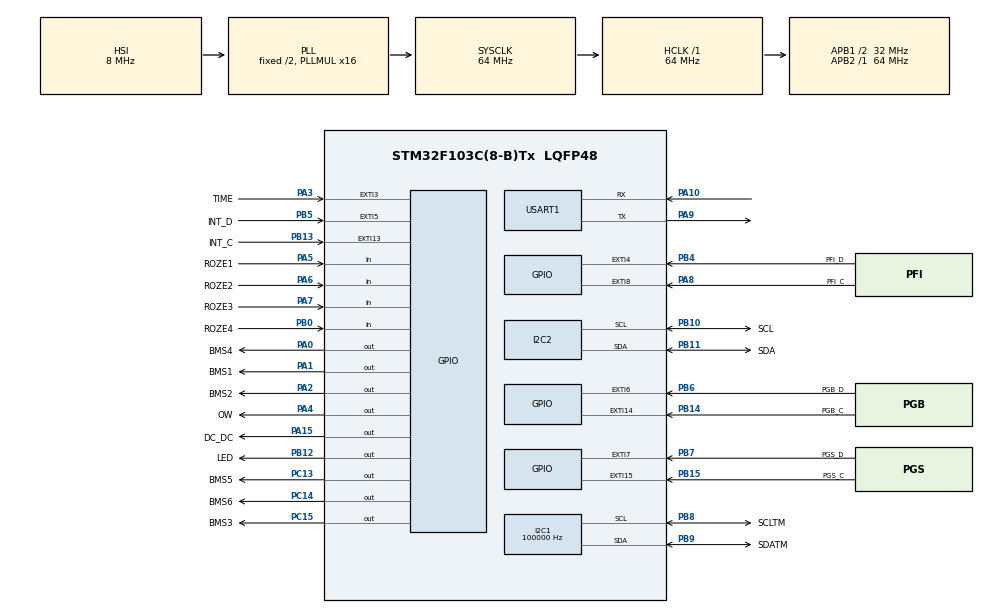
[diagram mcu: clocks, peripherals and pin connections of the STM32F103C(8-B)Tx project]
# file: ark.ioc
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ADC1.Channel-0\#ChannelRegularConversion=ADC_CHANNEL_TEMPSENSOR
ADC1.Channel-1\#ChannelRegularConversion=ADC_CHANNEL_VREFINT
ADC1.ContinuousConvMode=ENABLE
ADC1.DiscontinuousConvMode=DISABLE
ADC1.NbrOfConversion=2
ADC1.NbrOfConversionFlag=1
ADC1.Rank-0\#ChannelRegularConversion=1
ADC1.Rank-1\#ChannelRegularConversion=2
ADC1.SamplingTime-0\#ChannelRegularConversion=ADC_SAMPLETIME_239CYCLES_5
ADC1.SamplingTime-1\#ChannelRegularConversion=ADC_SAMPLETIME_239CYCLES_5
ADC1.master=1
Dma.ADC1.4.Direction=DMA_PERIPH_TO_MEMORY
Dma.ADC1.4.Instance=DMA1_Channel1
Dma.ADC1.4.MemDataAlignment=DMA_MDATAALIGN_HALFWORD
Dma.ADC1.4.MemInc=DMA_MINC_ENABLE
Dma.ADC1.4.Mode=DMA_CIRCULAR
Dma.ADC1.4.PeriphDataAlignment=DMA_PDATAALIGN_HALFWORD
Dma.ADC1.4.PeriphInc=DMA_PINC_DISABLE
Dma.ADC1.4.Priority=DMA_PRIORITY_LOW
Dma.I2C1_RX.0.Direction=DMA_PERIPH_TO_MEMORY
Dma.I2C1_RX.0.Instance=DMA1_Channel7
Dma.I2C1_RX.0.MemDataAlignment=DMA_MDATAALIGN_BYTE
Dma.I2C1_RX.0.MemInc=DMA_MINC_ENABLE
Dma.I2C1_RX.0.Mode=DMA_NORMAL
Dma.I2C1_RX.0.PeriphDataAlignment=DMA_PDATAALIGN_BYTE
Dma.I2C1_RX.0.PeriphInc=DMA_PINC_DISABLE
Dma.I2C1_RX.0.Priority=DMA_PRIORITY_HIGH
Dma.I2C1_TX.1.Direction=DMA_MEMORY_TO_PERIPH
Dma.I2C1_TX.1.Instance=DMA1_Channel6
Dma.I2C1_TX.1.MemDataAlignment=DMA_MDATAALIGN_BYTE
Dma.I2C1_TX.1.MemInc=DMA_MINC_ENABLE
Dma.I2C1_TX.1.Mode=DMA_NORMAL
Dma.I2C1_TX.1.PeriphDataAlignment=DMA_PDATAALIGN_BYTE
Dma.I2C1_TX.1.PeriphInc=DMA_PINC_DISABLE
Dma.I2C1_TX.1.Priority=DMA_PRIORITY_HIGH
Dma.Request0=I2C1_RX
Dma.Request1=I2C1_TX
Dma.Request2=USART1_TX
Dma.Request3=USART1_RX
Dma.Request4=ADC1
Dma.USART1_RX.3.Direction=DMA_PERIPH_TO_MEMORY
Dma.USART1_RX.3.Instance=DMA1_Channel5
Dma.USART1_RX.3.MemDataAlignment=DMA_MDATAALIGN_BYTE
Dma.USART1_RX.3.MemInc=DMA_MINC_ENABLE
Dma.USART1_RX.3.Mode=DMA_NORMAL
Dma.USART1_RX.3.PeriphDataAlignment=DMA_PDATAALIGN_BYTE
Dma.USART1_RX.3.PeriphInc=DMA_PINC_DISABLE
Dma.USART1_RX.3.Priority=DMA_PRIORITY_LOW
Dma.USART1_TX.2.Direction=DMA_MEMORY_TO_PERIPH
Dma.USART1_TX.2.Instance=DMA1_Channel4
Dma.USART1_TX.2.MemDataAlignment=DMA_MDATAALIGN_BYTE
Dma.USART1_TX.2.MemInc=DMA_MINC_ENABLE
Dma.USART1_TX.2.Mode=DMA_NORMAL
Dma.USART1_TX.2.PeriphDataAlignment=DMA_PDATAALIGN_BYTE
Dma.USART1_TX.2.PeriphInc=DMA_PINC_DISABLE
Dma.USART1_TX.2.Priority=DMA_PRIORITY_LOW
I2C1.ClockSpeed=100000
I2C1.DualAddressMode=I2C_DUALADDRESS_DISABLE
I2C1.NoStretchMode=I2C_NOSTRETCH_DISABLE
I2C1.OwnAddress=0x68
IWDG.Prescaler=IWDG_PRESCALER_128
IWDG.Reload=0xfff
Mcu.Family=STM32F1
Mcu.Name=STM32F103C(8-B)Tx
Mcu.Package=LQFP48
NVIC.DMA1_Channel4_IRQn=true\:0\:0\:false\:false\:true\:false\:true\:true
NVIC.DMA1_Channel5_IRQn=true\:0\:0\:false\:false\:true\:false\:true\:true
NVIC.DMA1_Channel6_IRQn=true\:0\:0\:false\:false\:true\:false\:true\:true
NVIC.DMA1_Channel7_IRQn=true\:0\:0\:false\:false\:true\:false\:true\:true
NVIC.EXTI15_10_IRQn=true\:0\:0\:false\:false\:true\:true\:true\:true
NVIC.EXTI3_IRQn=true\:0\:0\:false\:false\:true\:true\:true\:true
NVIC.EXTI4_IRQn=true\:0\:0\:false\:false\:true\:true\:true\:true
NVIC.EXTI9_5_IRQn=true\:0\:0\:false\:false\:true\:true\:true\:true
NVIC.I2C1_ER_IRQn=true\:0\:0\:false\:false\:true\:true\:true\:true
NVIC.I2C1_EV_IRQn=true\:0\:0\:false\:false\:true\:true\:true\:true
NVIC.PriorityGroup=NVIC_PRIORITYGROUP_4
NVIC.USART1_IRQn=true\:0\:0\:false\:false\:true\:true\:true\:true
PA0-WKUP.GPIO_Label=BMS4
PA0-WKUP.GPIO_ModeDefaultOutputPP=GPIO_MODE_OUTPUT_OD
PA0-WKUP.GPIO_PuPd=GPIO_NOPULL
PA0-WKUP.GPIO_Speed=GPIO_SPEED_FREQ_LOW
PA0-WKUP.PinState=GPIO_PIN_SET
PA0-WKUP.Signal=GPIO_Output
PA1.GPIO_Label=BMS1
PA1.GPIO_ModeDefaultOutputPP=GPIO_MODE_OUTPUT_OD
PA1.GPIO_PuPd=GPIO_NOPULL
PA1.GPIO_Speed=GPIO_SPEED_FREQ_LOW
PA1.PinState=GPIO_PIN_SET
PA1.Signal=GPIO_Output
PA10.Mode=Asynchronous
PA10.Signal=USART1_RX
PA13.Mode=Serial_Wire
PA13.Signal=SYS_JTMS-SWDIO
PA14.Mode=Serial_Wire
PA14.Signal=SYS_JTCK-SWCLK
PA15.GPIO_Label=DC_DC
PA15.Signal=GPIO_Output
PA2.GPIO_Label=BMS2
PA2.GPIO_ModeDefaultOutputPP=GPIO_MODE_OUTPUT_OD
PA2.GPIO_PuPd=GPIO_NOPULL
PA2.GPIO_Speed=GPIO_SPEED_FREQ_LOW
PA2.PinState=GPIO_PIN_SET
PA2.Signal=GPIO_Output
PA3.GPIO_Label=TIME
PA3.Signal=GPXTI3
PA4.GPIO_Label=OW
PA4.GPIO_ModeDefaultOutputPP=GPIO_MODE_OUTPUT_OD
PA4.GPIO_PuPd=GPIO_NOPULL
PA4.GPIO_Speed=GPIO_SPEED_FREQ_HIGH
PA4.PinState=GPIO_PIN_SET
PA4.Signal=GPIO_Output
PA5.GPIO_Label=ROZE1
PA5.Signal=GPIO_Input
PA6.GPIO_Label=ROZE2
PA6.Signal=GPIO_Input
PA7.GPIO_Label=ROZE3
PA7.Signal=GPIO_Input
PA8.GPIO_Label=PFI_C
PA8.Signal=GPXTI8
PA9.Mode=Asynchronous
PA9.Signal=USART1_TX
PB0.GPIO_Label=ROZE4
PB0.Signal=GPIO_Input
PB10.GPIO_Label=SCL
PB10.GPIO_Pu=GPIO_PULLUP
PB10.Mode=I2C
PB10.Signal=I2C2_SCL
PB11.GPIO_Label=SDA
PB11.GPIO_Pu=GPIO_PULLUP
PB11.Mode=I2C
PB11.Signal=I2C2_SDA
PB12.GPIO_Label=LED
PB12.GPIO_ModeDefaultOutputPP=GPIO_MODE_OUTPUT_OD
PB12.GPIO_PuPd=GPIO_NOPULL
PB12.GPIO_Speed=GPIO_SPEED_FREQ_LOW
PB12.PinState=GPIO_PIN_SET
PB12.Signal=GPIO_Output
PB13.GPIO_Label=INT_C
PB13.Signal=GPXTI13
PB14.GPIO_Label=PGB_C
PB14.Signal=GPXTI14
PB15.GPIO_Label=PGS_C
PB15.Signal=GPXTI15
PB4.GPIO_Label=PFI_D
PB4.Signal=GPXTI4
PB5.GPIO_Label=INT_D
PB5.Signal=GPXTI5
PB6.GPIO_Label=PGB_D
PB6.Signal=GPXTI6
PB7.GPIO_Label=PGS_D
PB7.Signal=GPXTI7
PB8.GPIO_Label=SCLTM
PB8.GPIO_Pu=GPIO_PULLUP
PB8.Mode=I2C
PB8.Signal=I2C1_SCL
PB9.GPIO_Label=SDATM
PB9.GPIO_Pu=GPIO_PULLUP
PB9.Mode=I2C
PB9.Signal=I2C1_SDA
PC13-TAMPER-RTC.GPIO_Label=BMS5
PC13-TAMPER-RTC.GPIO_ModeDefaultOutputPP=GPIO_MODE_OUTPUT_OD
PC13-TAMPER-RTC.GPIO_PuPd=GPIO_NOPULL
PC13-TAMPER-RTC.GPIO_Speed=GPIO_SPEED_FREQ_LOW
PC13-TAMPER-RTC.PinState=GPIO_PIN_SET
PC13-TAMPER-RTC.Signal=GPIO_Output
PC14-OSC32_IN.GPIO_Label=BMS6
PC14-OSC32_IN.GPIO_ModeDefaultOutputPP=GPIO_MODE_OUTPUT_OD
PC14-OSC32_IN.GPIO_PuPd=GPIO_NOPULL
PC14-OSC32_IN.GPIO_Speed=GPIO_SPEED_FREQ_LOW
PC14-OSC32_IN.PinState=GPIO_PIN_SET
PC14-OSC32_IN.Signal=GPIO_Output
PC15-OSC32_OUT.GPIO_Label=BMS3
PC15-OSC32_OUT.GPIO_ModeDefaultOutputPP=GPIO_MODE_OUTPUT_OD
PC15-OSC32_OUT.GPIO_PuPd=GPIO_NOPULL
PC15-OSC32_OUT.GPIO_Speed=GPIO_SPEED_FREQ_LOW
PC15-OSC32_OUT.PinState=GPIO_PIN_SET
PC15-OSC32_OUT.Signal=GPIO_Output
ProjectManager.HeapSize=0x200
ProjectManager.StackSize=0x400
ProjectManager.TargetToolchain=STM32CubeIDE
RCC.ADCPresc=RCC_ADCPCLK2_DIV6
RCC.AHBFreq_Value=64000000
RCC.APB1CLKDivider=RCC_HCLK_DIV2
RCC.APB1Freq_Value=32000000
RCC.APB1TimFreq_Value=64000000
RCC.APB2Freq_Value=64000000
RCC.APB2TimFreq_Value=64000000
RCC.HCLKFreq_Value=64000000
RCC.PLLMUL=RCC_PLL_MUL16
RCC.SYSCLKFreq_VALUE=64000000
RCC.SYSCLKSource=RCC_SYSCLKSOURCE_PLLCLK
RCC.USBFreq_Value=64000000
RTC.AutoPrediv=0
USART1.VirtualMode=VM_ASYNC
VP_ADC1_TempSens_Input.Mode=IN-TempSens
VP_ADC1_Vref_Input.Mode=IN-Vrefint
VP_IWDG_VS_IWDG.Mode=IWDG_Activate
VP_RTC_VS_RTC_Activate.Mode=RTC_Enabled
board=custom

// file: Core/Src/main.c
/* USER CODE BEGIN Header */
/**
  ******************************************************************************
  * @file           : main.c
  * @brief          : Main program body
  ******************************************************************************
  * @attention
  *
  * <h2><center>&copy; Copyright (c) 2020 STMicroelectronics.
  * All rights reserved.</center></h2>
  *
  * This software component is licensed by ST under BSD 3-Clause license,
  * the "License"; You may not use this file except in compliance with the
  * License. You may obtain a copy of the License at:
  *                        opensource.org/licenses/BSD-3-Clause
  *
  ******************************************************************************
  */
/* USER CODE END Header */
#include "main.h"

/* USER CODE BEGIN Includes */
#include <assert.h>
#include "osc_config.h"
/* USER CODE END Includes */

 ADC_HandleTypeDef hadc1;
DMA_HandleTypeDef hdma_adc1;

I2C_HandleTypeDef hi2c2;

IWDG_HandleTypeDef hiwdg;

UART_HandleTypeDef huart1;
DMA_HandleTypeDef hdma_usart1_tx;
DMA_HandleTypeDef hdma_usart1_rx;

void SystemClock_Config(void);
static void MX_GPIO_Init(void);
static void MX_DMA_Init(void);
static void MX_I2C1_Init(void);
static void MX_USART1_UART_Init(void);
static void MX_RTC_Init(void);
static void MX_I2C2_Init(void);
static void MX_ADC1_Init(void);
static void MX_IWDG_Init(void);
/* USER CODE BEGIN PFP */
extern void initialise_monitor_handles(void);
/* USER CODE END PFP */

int main(void)
{
  /* USER CODE BEGIN 1 */
  //initialise_monitor_handles();

  /* USER CODE END 1 */

  /* MCU Configuration--------------------------------------------------------*/

  /* Reset of all peripherals, Initializes the Flash interface and the Systick. */
  HAL_Init();

  /* USER CODE BEGIN Init */

  int error = HSE_SystemClock_Config();
  if (1 == error)
  {
	  error = 0;
	  error = HSI_SystemClock_Config();
	  if (1 == error)
		  HAL_NVIC_SystemReset();
  }

#ifdef CUBE_CLOCK_CONFIG
  /* USER CODE END Init */

  /* Configure the system clock */
  SystemClock_Config();

  /* USER CODE BEGIN SysInit */
#endif
  /* USER CODE END SysInit */

  /* Initialize all configured peripherals */
  MX_GPIO_Init();
  MX_DMA_Init();
  MX_I2C1_Init();
  MX_USART1_UART_Init();
  MX_RTC_Init();
  MX_I2C2_Init();
  MX_ADC1_Init();
  MX_IWDG_Init();
  /* USER CODE BEGIN 2 */
  tmain();
  /* USER CODE END 2 */

  /* Infinite loop */
  while (1)
  {

  }
}

void SystemClock_Config(void)
{
  RCC_OscInitTypeDef RCC_OscInitStruct = {0};
  RCC_ClkInitTypeDef RCC_ClkInitStruct = {0};
  RCC_PeriphCLKInitTypeDef PeriphClkInit = {0};

  /** Initializes the RCC Oscillators according to the specified parameters
  * in the RCC_OscInitTypeDef structure.
  */
  RCC_OscInitStruct.OscillatorType = RCC_OSCILLATORTYPE_HSI|RCC_OSCILLATORTYPE_LSI;
  RCC_OscInitStruct.HSIState = RCC_HSI_ON;
  RCC_OscInitStruct.HSICalibrationValue = RCC_HSICALIBRATION_DEFAULT;
  RCC_OscInitStruct.LSIState = RCC_LSI_ON;
  RCC_OscInitStruct.PLL.PLLState = RCC_PLL_ON;
  RCC_OscInitStruct.PLL.PLLSource = RCC_PLLSOURCE_HSI_DIV2;
  RCC_OscInitStruct.PLL.PLLMUL = RCC_PLL_MUL16;
  if (HAL_RCC_OscConfig(&RCC_OscInitStruct) != HAL_OK)
  {
    Error_Handler();
  }

  /** Initializes the CPU, AHB and APB buses clocks
  */
  RCC_ClkInitStruct.ClockType = RCC_CLOCKTYPE_HCLK|RCC_CLOCKTYPE_SYSCLK
                              |RCC_CLOCKTYPE_PCLK1|RCC_CLOCKTYPE_PCLK2;
  RCC_ClkInitStruct.SYSCLKSource = RCC_SYSCLKSOURCE_PLLCLK;
  RCC_ClkInitStruct.AHBCLKDivider = RCC_SYSCLK_DIV1;
  RCC_ClkInitStruct.APB1CLKDivider = RCC_HCLK_DIV2;
  RCC_ClkInitStruct.APB2CLKDivider = RCC_HCLK_DIV1;

  if (HAL_RCC_ClockConfig(&RCC_ClkInitStruct, FLASH_LATENCY_2) != HAL_OK)
  {
    Error_Handler();
  }
  PeriphClkInit.PeriphClockSelection = RCC_PERIPHCLK_RTC|RCC_PERIPHCLK_ADC;
  PeriphClkInit.RTCClockSelection = RCC_RTCCLKSOURCE_LSI;
  PeriphClkInit.AdcClockSelection = RCC_ADCPCLK2_DIV6;
  if (HAL_RCCEx_PeriphCLKConfig(&PeriphClkInit) != HAL_OK)
  {
    Error_Handler();
  }
}

static void MX_ADC1_Init(void)
{

  ADC_ChannelConfTypeDef sConfig = {0};

  /** Common config
  */
  hadc1.Instance = ADC1;
  hadc1.Init.ScanConvMode = ADC_SCAN_ENABLE;
  hadc1.Init.ContinuousConvMode = ENABLE;
  hadc1.Init.DiscontinuousConvMode = DISABLE;
  hadc1.Init.ExternalTrigConv = ADC_SOFTWARE_START;
  hadc1.Init.DataAlign = ADC_DATAALIGN_RIGHT;
  hadc1.Init.NbrOfConversion = 2;
  if (HAL_ADC_Init(&hadc1) != HAL_OK)
  {
    Error_Handler();
  }

  /** Configure Regular Channel
  */
  sConfig.Channel = ADC_CHANNEL_TEMPSENSOR;
  sConfig.Rank = ADC_REGULAR_RANK_1;
  sConfig.SamplingTime = ADC_SAMPLETIME_239CYCLES_5;
  if (HAL_ADC_ConfigChannel(&hadc1, &sConfig) != HAL_OK)
  {
    Error_Handler();
  }

  /** Configure Regular Channel
  */
  sConfig.Channel = ADC_CHANNEL_VREFINT;
  sConfig.Rank = ADC_REGULAR_RANK_2;
  if (HAL_ADC_ConfigChannel(&hadc1, &sConfig) != HAL_OK)
  {
    Error_Handler();
  }

}

static void MX_I2C1_Init(void)
{

  LL_I2C_InitTypeDef I2C_InitStruct = {0};

  LL_GPIO_InitTypeDef GPIO_InitStruct = {0};

  LL_APB2_GRP1_EnableClock(LL_APB2_GRP1_PERIPH_GPIOB);
  /**I2C1 GPIO Configuration
  PB8   ------> I2C1_SCL
  PB9   ------> I2C1_SDA
  */
  GPIO_InitStruct.Pin = LL_GPIO_PIN_8|LL_GPIO_PIN_9;
  GPIO_InitStruct.Mode = LL_GPIO_MODE_ALTERNATE;
  GPIO_InitStruct.Speed = LL_GPIO_SPEED_FREQ_HIGH;
  GPIO_InitStruct.OutputType = LL_GPIO_OUTPUT_OPENDRAIN;
  LL_GPIO_Init(GPIOB, &GPIO_InitStruct);

  LL_GPIO_AF_EnableRemap_I2C1();

  /* Peripheral clock enable */
  LL_APB1_GRP1_EnableClock(LL_APB1_GRP1_PERIPH_I2C1);

  /* I2C1 DMA Init */

  /* I2C1_RX Init */
  LL_DMA_SetDataTransferDirection(DMA1, LL_DMA_CHANNEL_7, LL_DMA_DIRECTION_PERIPH_TO_MEMORY);

  LL_DMA_SetChannelPriorityLevel(DMA1, LL_DMA_CHANNEL_7, LL_DMA_PRIORITY_HIGH);

  LL_DMA_SetMode(DMA1, LL_DMA_CHANNEL_7, LL_DMA_MODE_NORMAL);

  LL_DMA_SetPeriphIncMode(DMA1, LL_DMA_CHANNEL_7, LL_DMA_PERIPH_NOINCREMENT);

  LL_DMA_SetMemoryIncMode(DMA1, LL_DMA_CHANNEL_7, LL_DMA_MEMORY_INCREMENT);

  LL_DMA_SetPeriphSize(DMA1, LL_DMA_CHANNEL_7, LL_DMA_PDATAALIGN_BYTE);

  LL_DMA_SetMemorySize(DMA1, LL_DMA_CHANNEL_7, LL_DMA_MDATAALIGN_BYTE);

  /* I2C1_TX Init */
  LL_DMA_SetDataTransferDirection(DMA1, LL_DMA_CHANNEL_6, LL_DMA_DIRECTION_MEMORY_TO_PERIPH);

  LL_DMA_SetChannelPriorityLevel(DMA1, LL_DMA_CHANNEL_6, LL_DMA_PRIORITY_HIGH);

  LL_DMA_SetMode(DMA1, LL_DMA_CHANNEL_6, LL_DMA_MODE_NORMAL);

  LL_DMA_SetPeriphIncMode(DMA1, LL_DMA_CHANNEL_6, LL_DMA_PERIPH_NOINCREMENT);

  LL_DMA_SetMemoryIncMode(DMA1, LL_DMA_CHANNEL_6, LL_DMA_MEMORY_INCREMENT);

  LL_DMA_SetPeriphSize(DMA1, LL_DMA_CHANNEL_6, LL_DMA_PDATAALIGN_BYTE);

  LL_DMA_SetMemorySize(DMA1, LL_DMA_CHANNEL_6, LL_DMA_MDATAALIGN_BYTE);

  /* I2C1 interrupt Init */
  NVIC_SetPriority(I2C1_EV_IRQn, NVIC_EncodePriority(NVIC_GetPriorityGrouping(),0, 0));
  NVIC_EnableIRQ(I2C1_EV_IRQn);
  NVIC_SetPriority(I2C1_ER_IRQn, NVIC_EncodePriority(NVIC_GetPriorityGrouping(),0, 0));
  NVIC_EnableIRQ(I2C1_ER_IRQn);

  /** I2C Initialization
  */
  LL_I2C_DisableOwnAddress2(I2C1);
  LL_I2C_DisableGeneralCall(I2C1);
  LL_I2C_EnableClockStretching(I2C1);
  I2C_InitStruct.PeripheralMode = LL_I2C_MODE_I2C;
  I2C_InitStruct.ClockSpeed = 100000;
  I2C_InitStruct.DutyCycle = LL_I2C_DUTYCYCLE_2;
  I2C_InitStruct.OwnAddress1 = 208;
  I2C_InitStruct.TypeAcknowledge = LL_I2C_ACK;
  I2C_InitStruct.OwnAddrSize = LL_I2C_OWNADDRESS1_7BIT;
  LL_I2C_Init(I2C1, &I2C_InitStruct);
  LL_I2C_SetOwnAddress2(I2C1, 0);

}

static void MX_I2C2_Init(void)
{

  hi2c2.Instance = I2C2;
  hi2c2.Init.ClockSpeed = 100000;
  hi2c2.Init.DutyCycle = I2C_DUTYCYCLE_2;
  hi2c2.Init.OwnAddress1 = 0;
  hi2c2.Init.AddressingMode = I2C_ADDRESSINGMODE_7BIT;
  hi2c2.Init.DualAddressMode = I2C_DUALADDRESS_DISABLE;
  hi2c2.Init.OwnAddress2 = 0;
  hi2c2.Init.GeneralCallMode = I2C_GENERALCALL_DISABLE;
  hi2c2.Init.NoStretchMode = I2C_NOSTRETCH_DISABLE;
  if (HAL_I2C_Init(&hi2c2) != HAL_OK)
  {
    Error_Handler();
  }

}

static void MX_IWDG_Init(void)
{

  /* USER CODE BEGIN IWDG_Init 1 */
  /* По поводу предделителя и релоада.
   * LSI в самом быстром случае бегает на 60 кГц.
   * В самом медленном - 30 кГц.
   * Если поставить предделитель в 128, а релоад в 0xFFF
   * Постчитаем
   * T_limit = 1/f * psc * reload;
   * для f = 60*10**3, T_limit = 8.736 секунды
   * для f = 30*10**3, T_limit = 17.472 секунды
   *
   * Вполне приемлемые цифры */
  /* USER CODE END IWDG_Init 1 */
  hiwdg.Instance = IWDG;
  hiwdg.Init.Prescaler = IWDG_PRESCALER_128;
  hiwdg.Init.Reload = 0xfff;
  if (HAL_IWDG_Init(&hiwdg) != HAL_OK)
  {
    Error_Handler();
  }

}

static void MX_RTC_Init(void)
{

  LL_RTC_InitTypeDef RTC_InitStruct = {0};

    LL_PWR_EnableBkUpAccess();
    /* Enable BKP CLK enable for backup registers */
    LL_APB1_GRP1_EnableClock(LL_APB1_GRP1_PERIPH_BKP);
  /* Peripheral clock enable */
  LL_RCC_EnableRTC();

  /** Initialize RTC and set the Time and Date
  */
  RTC_InitStruct.AsynchPrescaler = 1048575;
  LL_RTC_Init(RTC, &RTC_InitStruct);
  LL_RTC_SetAsynchPrescaler(RTC, 1048575);

}

static void MX_USART1_UART_Init(void)
{

  huart1.Instance = USART1;
  huart1.Init.BaudRate = 115200;
  huart1.Init.WordLength = UART_WORDLENGTH_8B;
  huart1.Init.StopBits = UART_STOPBITS_1;
  huart1.Init.Parity = UART_PARITY_NONE;
  huart1.Init.Mode = UART_MODE_TX_RX;
  huart1.Init.HwFlowCtl = UART_HWCONTROL_NONE;
  huart1.Init.OverSampling = UART_OVERSAMPLING_16;
  if (HAL_UART_Init(&huart1) != HAL_OK)
  {
    Error_Handler();
  }

}

static void MX_DMA_Init(void)
{

  /* DMA controller clock enable */
  __HAL_RCC_DMA1_CLK_ENABLE();

  /* DMA interrupt init */
  /* DMA1_Channel4_IRQn interrupt configuration */
  HAL_NVIC_SetPriority(DMA1_Channel4_IRQn, 0, 0);
  HAL_NVIC_EnableIRQ(DMA1_Channel4_IRQn);
  /* DMA1_Channel5_IRQn interrupt configuration */
  HAL_NVIC_SetPriority(DMA1_Channel5_IRQn, 0, 0);
  HAL_NVIC_EnableIRQ(DMA1_Channel5_IRQn);
  /* DMA1_Channel6_IRQn interrupt configuration */
  NVIC_SetPriority(DMA1_Channel6_IRQn, NVIC_EncodePriority(NVIC_GetPriorityGrouping(),0, 0));
  NVIC_EnableIRQ(DMA1_Channel6_IRQn);
  /* DMA1_Channel7_IRQn interrupt configuration */
  NVIC_SetPriority(DMA1_Channel7_IRQn, NVIC_EncodePriority(NVIC_GetPriorityGrouping(),0, 0));
  NVIC_EnableIRQ(DMA1_Channel7_IRQn);

}

static void MX_GPIO_Init(void)
{
  GPIO_InitTypeDef GPIO_InitStruct = {0};

  /* GPIO Ports Clock Enable */
  __HAL_RCC_GPIOC_CLK_ENABLE();
  __HAL_RCC_GPIOA_CLK_ENABLE();
  __HAL_RCC_GPIOB_CLK_ENABLE();

  /*Configure GPIO pin Output Level */
  HAL_GPIO_WritePin(GPIOC, BMS5_Pin|BMS6_Pin|BMS3_Pin, GPIO_PIN_SET);

  /*Configure GPIO pin Output Level */
  HAL_GPIO_WritePin(GPIOA, BMS4_Pin|BMS1_Pin|BMS2_Pin|OW_Pin, GPIO_PIN_SET);

  /*Configure GPIO pin Output Level */
  HAL_GPIO_WritePin(LED_GPIO_Port, LED_Pin, GPIO_PIN_SET);

  /*Configure GPIO pin Output Level */
  HAL_GPIO_WritePin(DC_DC_GPIO_Port, DC_DC_Pin, GPIO_PIN_RESET);

  /*Configure GPIO pins : BMS5_Pin BMS6_Pin BMS3_Pin */
  GPIO_InitStruct.Pin = BMS5_Pin|BMS6_Pin|BMS3_Pin;
  GPIO_InitStruct.Mode = GPIO_MODE_OUTPUT_OD;
  GPIO_InitStruct.Pull = GPIO_NOPULL;
  GPIO_InitStruct.Speed = GPIO_SPEED_FREQ_LOW;
  HAL_GPIO_Init(GPIOC, &GPIO_InitStruct);

  /*Configure GPIO pins : BMS4_Pin BMS1_Pin BMS2_Pin */
  GPIO_InitStruct.Pin = BMS4_Pin|BMS1_Pin|BMS2_Pin;
  GPIO_InitStruct.Mode = GPIO_MODE_OUTPUT_OD;
  GPIO_InitStruct.Pull = GPIO_NOPULL;
  GPIO_InitStruct.Speed = GPIO_SPEED_FREQ_LOW;
  HAL_GPIO_Init(GPIOA, &GPIO_InitStruct);

  /*Configure GPIO pins : TIME_Pin PFI_C_Pin */
  GPIO_InitStruct.Pin = TIME_Pin|PFI_C_Pin;
  GPIO_InitStruct.Mode = GPIO_MODE_IT_RISING;
  GPIO_InitStruct.Pull = GPIO_NOPULL;
  HAL_GPIO_Init(GPIOA, &GPIO_InitStruct);

  /*Configure GPIO pin : OW_Pin */
  GPIO_InitStruct.Pin = OW_Pin;
  GPIO_InitStruct.Mode = GPIO_MODE_OUTPUT_OD;
  GPIO_InitStruct.Pull = GPIO_NOPULL;
  GPIO_InitStruct.Speed = GPIO_SPEED_FREQ_HIGH;
  HAL_GPIO_Init(OW_GPIO_Port, &GPIO_InitStruct);

  /*Configure GPIO pins : ROZE1_Pin ROZE2_Pin ROZE3_Pin */
  GPIO_InitStruct.Pin = ROZE1_Pin|ROZE2_Pin|ROZE3_Pin;
  GPIO_InitStruct.Mode = GPIO_MODE_INPUT;
  GPIO_InitStruct.Pull = GPIO_NOPULL;
  HAL_GPIO_Init(GPIOA, &GPIO_InitStruct);

  /*Configure GPIO pin : ROZE4_Pin */
  GPIO_InitStruct.Pin = ROZE4_Pin;
  GPIO_InitStruct.Mode = GPIO_MODE_INPUT;
  GPIO_InitStruct.Pull = GPIO_NOPULL;
  HAL_GPIO_Init(ROZE4_GPIO_Port, &GPIO_InitStruct);

  /*Configure GPIO pin : LED_Pin */
  GPIO_InitStruct.Pin = LED_Pin;
  GPIO_InitStruct.Mode = GPIO_MODE_OUTPUT_OD;
  GPIO_InitStruct.Pull = GPIO_NOPULL;
  GPIO_InitStruct.Speed = GPIO_SPEED_FREQ_LOW;
  HAL_GPIO_Init(LED_GPIO_Port, &GPIO_InitStruct);

  /*Configure GPIO pins : INT_C_Pin PGB_C_Pin PGS_C_Pin PFI_D_Pin
                           INT_D_Pin PGB_D_Pin PGS_D_Pin */
  GPIO_InitStruct.Pin = INT_C_Pin|PGB_C_Pin|PGS_C_Pin|PFI_D_Pin
                          |INT_D_Pin|PGB_D_Pin|PGS_D_Pin;
  GPIO_InitStruct.Mode = GPIO_MODE_IT_RISING;
  GPIO_InitStruct.Pull = GPIO_NOPULL;
  HAL_GPIO_Init(GPIOB, &GPIO_InitStruct);

  /*Configure GPIO pin : DC_DC_Pin */
  GPIO_InitStruct.Pin = DC_DC_Pin;
  GPIO_InitStruct.Mode = GPIO_MODE_OUTPUT_PP;
  GPIO_InitStruct.Pull = GPIO_NOPULL;
  GPIO_InitStruct.Speed = GPIO_SPEED_FREQ_LOW;
  HAL_GPIO_Init(DC_DC_GPIO_Port, &GPIO_InitStruct);

  /* EXTI interrupt init*/
  HAL_NVIC_SetPriority(EXTI3_IRQn, 0, 0);
  HAL_NVIC_EnableIRQ(EXTI3_IRQn);

  HAL_NVIC_SetPriority(EXTI4_IRQn, 0, 0);
  HAL_NVIC_EnableIRQ(EXTI4_IRQn);

  HAL_NVIC_SetPriority(EXTI9_5_IRQn, 0, 0);
  HAL_NVIC_EnableIRQ(EXTI9_5_IRQn);

  HAL_NVIC_SetPriority(EXTI15_10_IRQn, 0, 0);
  HAL_NVIC_EnableIRQ(EXTI15_10_IRQn);

}

/* USER CODE BEGIN 4 */

int _write(int fd, char* ptr, int len)
{
    (void)fd;
    HAL_UART_Transmit(&huart1, (uint8_t *)ptr, len, 100);
    return len;
}

/* USER CODE END 4 */

void Error_Handler(void)
{
  /* USER CODE BEGIN Error_Handler_Debug */
  /* User can add his own implementation to report the HAL error return state */
#ifdef DEBUG
	while(1) {} // allow debugger to attach and examine situation
#else
  assert(1 == 0); // Закорачиваем на ассерт
#endif
  /* USER CODE END Error_Handler_Debug */
}
